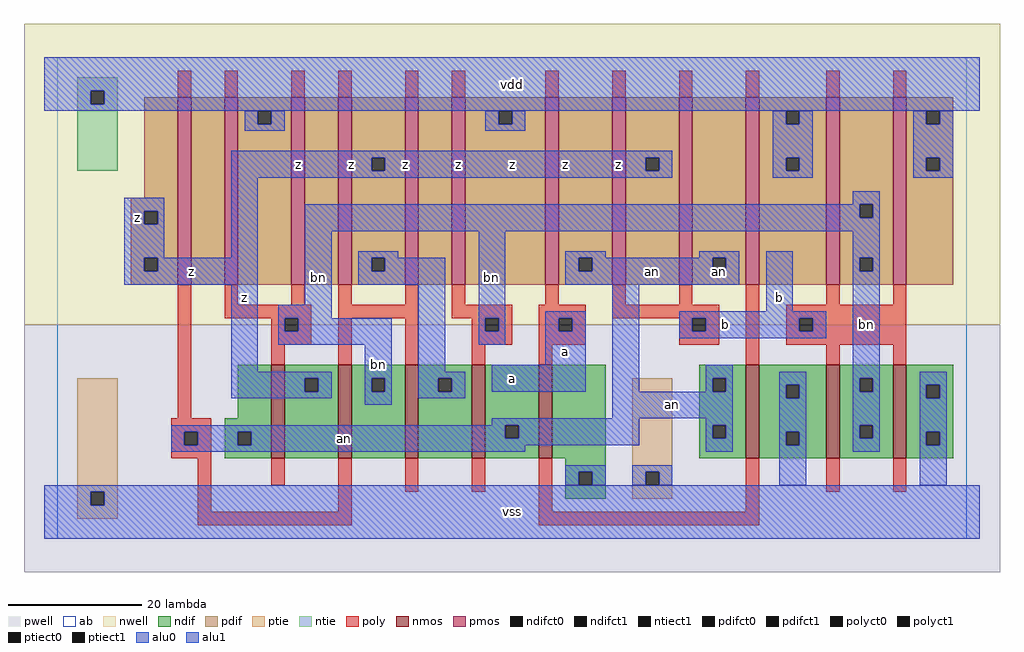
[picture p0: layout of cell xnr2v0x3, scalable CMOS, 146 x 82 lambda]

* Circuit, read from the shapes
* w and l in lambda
.subckt xnr2v0x3 a an b bn vdd vss z
M1 z bn an vss nfet w=14 l=2 m=2
M2 bn an z vss nfet w=14 l=2 m=2
M3 vss a an vss nfet w=14 l=2 m=2
M4 bn b vss vss nfet w=14 l=2 m=2
M5 n1 an z vdd pfet w=28 l=2
M6 vdd bn n1 vdd pfet w=28 l=2
M7 n2 bn vdd vdd pfet w=28 l=2
M8 z an n2 vdd pfet w=28 l=2
M9 n3 an z vdd pfet w=28 l=2
M10 vdd bn n3 vdd pfet w=28 l=2
M11 an a vdd vdd pfet w=28 l=2 m=2
M12 z b an vdd pfet w=28 l=2 m=2
M13 bn b vdd vdd pfet w=28 l=2 m=2
.ends

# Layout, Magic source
magic
tech scmos
<< ab >>
rect 0 0 136 72
<< nwell >>
rect -5 32 141 77
<< pwell >>
rect -5 -5 141 32
<< poly >>
rect 18 66 20 70
rect 25 66 27 70
rect 35 66 37 70
rect 42 66 44 70
rect 52 66 54 70
rect 59 66 61 70
rect 73 66 75 70
rect 83 66 85 70
rect 93 66 95 70
rect 103 66 105 70
rect 115 66 117 70
rect 125 66 127 70
rect 18 18 20 38
rect 25 35 27 38
rect 35 35 37 38
rect 42 35 44 38
rect 52 35 54 38
rect 25 33 38 35
rect 32 31 34 33
rect 36 31 38 33
rect 32 29 38 31
rect 42 33 54 35
rect 59 35 61 38
rect 73 35 75 38
rect 83 35 85 38
rect 93 35 95 38
rect 59 33 68 35
rect 32 26 34 29
rect 42 26 44 33
rect 52 26 54 33
rect 62 31 64 33
rect 66 31 68 33
rect 62 29 68 31
rect 72 33 79 35
rect 83 33 99 35
rect 72 31 75 33
rect 77 31 79 33
rect 72 29 79 31
rect 93 31 95 33
rect 97 31 99 33
rect 93 29 99 31
rect 62 26 64 29
rect 72 26 74 29
rect 103 26 105 38
rect 115 35 117 38
rect 125 35 127 38
rect 109 33 127 35
rect 109 31 111 33
rect 113 31 127 33
rect 109 29 127 31
rect 115 26 117 29
rect 125 26 127 29
rect 17 16 23 18
rect 17 14 19 16
rect 21 14 23 16
rect 17 12 23 14
rect 21 4 23 12
rect 32 8 34 12
rect 42 4 44 12
rect 52 7 54 12
rect 62 7 64 12
rect 21 2 44 4
rect 72 4 74 12
rect 103 4 105 12
rect 115 7 117 12
rect 125 7 127 12
rect 72 2 105 4
<< ndif >>
rect 27 18 32 26
rect 25 16 32 18
rect 25 14 27 16
rect 29 14 32 16
rect 25 12 32 14
rect 34 24 42 26
rect 34 22 37 24
rect 39 22 42 24
rect 34 12 42 22
rect 44 24 52 26
rect 44 22 47 24
rect 49 22 52 24
rect 44 12 52 22
rect 54 24 62 26
rect 54 22 57 24
rect 59 22 62 24
rect 54 12 62 22
rect 64 17 72 26
rect 64 15 67 17
rect 69 15 72 17
rect 64 12 72 15
rect 74 12 82 26
rect 96 24 103 26
rect 76 10 82 12
rect 76 8 78 10
rect 80 8 82 10
rect 76 6 82 8
rect 96 22 98 24
rect 100 22 103 24
rect 96 17 103 22
rect 96 15 98 17
rect 100 15 103 17
rect 96 12 103 15
rect 105 23 115 26
rect 105 21 109 23
rect 111 21 115 23
rect 105 16 115 21
rect 105 14 109 16
rect 111 14 115 16
rect 105 12 115 14
rect 117 24 125 26
rect 117 22 120 24
rect 122 22 125 24
rect 117 17 125 22
rect 117 15 120 17
rect 122 15 125 17
rect 117 12 125 15
rect 127 23 134 26
rect 127 21 130 23
rect 132 21 134 23
rect 127 16 134 21
rect 127 14 130 16
rect 132 14 134 16
rect 127 12 134 14
<< pdif >>
rect 13 51 18 66
rect 11 49 18 51
rect 11 47 13 49
rect 15 47 18 49
rect 11 42 18 47
rect 11 40 13 42
rect 15 40 18 42
rect 11 38 18 40
rect 20 38 25 66
rect 27 64 35 66
rect 27 62 30 64
rect 32 62 35 64
rect 27 38 35 62
rect 37 38 42 66
rect 44 57 52 66
rect 44 55 47 57
rect 49 55 52 57
rect 44 42 52 55
rect 44 40 47 42
rect 49 40 52 42
rect 44 38 52 40
rect 54 38 59 66
rect 61 64 73 66
rect 61 62 66 64
rect 68 62 73 64
rect 61 38 73 62
rect 75 42 83 66
rect 75 40 78 42
rect 80 40 83 42
rect 75 38 83 40
rect 85 57 93 66
rect 85 55 88 57
rect 90 55 93 57
rect 85 38 93 55
rect 95 42 103 66
rect 95 40 98 42
rect 100 40 103 42
rect 95 38 103 40
rect 105 64 115 66
rect 105 62 109 64
rect 111 62 115 64
rect 105 57 115 62
rect 105 55 109 57
rect 111 55 115 57
rect 105 38 115 55
rect 117 50 125 66
rect 117 48 120 50
rect 122 48 125 50
rect 117 42 125 48
rect 117 40 120 42
rect 122 40 125 42
rect 117 38 125 40
rect 127 64 134 66
rect 127 62 130 64
rect 132 62 134 64
rect 127 57 134 62
rect 127 55 130 57
rect 132 55 134 57
rect 127 38 134 55
<< alu1 >>
rect -2 67 138 72
rect -2 65 5 67
rect 7 65 138 67
rect -2 64 138 65
rect 26 57 92 58
rect 26 55 47 57
rect 49 55 88 57
rect 90 55 92 57
rect 26 54 92 55
rect 10 49 16 51
rect 10 47 13 49
rect 15 47 16 49
rect 10 42 16 47
rect 26 42 30 54
rect 10 40 13 42
rect 15 40 30 42
rect 10 38 30 40
rect 26 25 30 38
rect 26 24 41 25
rect 26 22 37 24
rect 39 22 41 24
rect 26 21 41 22
rect 73 33 79 34
rect 73 31 75 33
rect 77 31 79 33
rect 73 26 79 31
rect 65 22 79 26
rect 106 34 110 43
rect 93 33 115 34
rect 93 31 95 33
rect 97 31 111 33
rect 113 31 115 33
rect 93 30 115 31
rect -2 7 138 8
rect -2 5 5 7
rect 7 5 138 7
rect -2 0 138 5
<< ptie >>
rect 3 7 9 24
rect 3 5 5 7
rect 7 5 9 7
rect 3 3 9 5
rect 86 10 92 24
rect 86 8 88 10
rect 90 8 92 10
rect 86 6 92 8
<< ntie >>
rect 3 67 9 69
rect 3 65 5 67
rect 7 65 9 67
rect 3 55 9 65
<< nmos >>
rect 32 12 34 26
rect 42 12 44 26
rect 52 12 54 26
rect 62 12 64 26
rect 72 12 74 26
rect 103 12 105 26
rect 115 12 117 26
rect 125 12 127 26
<< pmos >>
rect 18 38 20 66
rect 25 38 27 66
rect 35 38 37 66
rect 42 38 44 66
rect 52 38 54 66
rect 59 38 61 66
rect 73 38 75 66
rect 83 38 85 66
rect 93 38 95 66
rect 103 38 105 66
rect 115 38 117 66
rect 125 38 127 66
<< polyct0 >>
rect 34 31 36 33
rect 64 31 66 33
rect 19 14 21 16
<< polyct1 >>
rect 75 31 77 33
rect 95 31 97 33
rect 111 31 113 33
<< ndifct0 >>
rect 27 14 29 16
rect 47 22 49 24
rect 57 22 59 24
rect 67 15 69 17
rect 78 8 80 10
rect 98 22 100 24
rect 98 15 100 17
rect 109 21 111 23
rect 109 14 111 16
rect 120 22 122 24
rect 120 15 122 17
rect 130 21 132 23
rect 130 14 132 16
<< ndifct1 >>
rect 37 22 39 24
<< ntiect1 >>
rect 5 65 7 67
<< ptiect0 >>
rect 88 8 90 10
<< ptiect1 >>
rect 5 5 7 7
<< pdifct0 >>
rect 30 62 32 64
rect 47 40 49 42
rect 66 62 68 64
rect 78 40 80 42
rect 98 40 100 42
rect 109 62 111 64
rect 109 55 111 57
rect 120 48 122 50
rect 120 40 122 42
rect 130 62 132 64
rect 130 55 132 57
<< pdifct1 >>
rect 13 47 15 49
rect 13 40 15 42
rect 47 55 49 57
rect 88 55 90 57
<< alu0 >>
rect 28 62 30 64
rect 32 62 34 64
rect 28 61 34 62
rect 64 62 66 64
rect 68 62 70 64
rect 64 61 70 62
rect 107 62 109 64
rect 111 62 113 64
rect 107 57 113 62
rect 107 55 109 57
rect 111 55 113 57
rect 107 54 113 55
rect 128 62 130 64
rect 132 62 134 64
rect 128 57 134 62
rect 128 55 130 57
rect 132 55 134 57
rect 128 54 134 55
rect 119 50 123 52
rect 37 48 120 50
rect 122 48 123 50
rect 37 46 123 48
rect 37 35 41 46
rect 45 42 51 43
rect 45 40 47 42
rect 49 40 58 42
rect 45 38 58 40
rect 33 33 41 35
rect 33 31 34 33
rect 36 31 50 33
rect 33 29 50 31
rect 46 24 50 29
rect 46 22 47 24
rect 49 22 50 24
rect 46 20 50 22
rect 54 25 58 38
rect 63 33 67 46
rect 76 42 82 43
rect 96 42 102 43
rect 76 40 78 42
rect 80 40 98 42
rect 100 40 102 42
rect 76 38 102 40
rect 63 31 64 33
rect 66 31 67 33
rect 63 29 67 31
rect 54 24 61 25
rect 54 22 57 24
rect 59 22 61 24
rect 83 22 87 38
rect 119 42 123 46
rect 119 40 120 42
rect 122 40 123 42
rect 97 24 101 26
rect 97 22 98 24
rect 100 22 101 24
rect 54 21 61 22
rect 83 18 101 22
rect 65 17 87 18
rect 17 16 67 17
rect 17 14 19 16
rect 21 14 27 16
rect 29 15 67 16
rect 69 15 87 17
rect 29 14 87 15
rect 97 17 101 18
rect 97 15 98 17
rect 100 15 101 17
rect 17 13 70 14
rect 97 13 101 15
rect 108 23 112 25
rect 108 21 109 23
rect 111 21 112 23
rect 108 16 112 21
rect 108 14 109 16
rect 111 14 112 16
rect 76 10 82 11
rect 76 8 78 10
rect 80 8 82 10
rect 86 10 92 11
rect 86 8 88 10
rect 90 8 92 10
rect 108 8 112 14
rect 119 24 123 40
rect 119 22 120 24
rect 122 22 123 24
rect 119 17 123 22
rect 119 15 120 17
rect 122 15 123 17
rect 119 13 123 15
rect 129 23 133 25
rect 129 21 130 23
rect 132 21 133 23
rect 129 16 133 21
rect 129 14 130 16
rect 132 14 133 16
rect 129 8 133 14
<< labels >>
rlabel alu0 48 26 48 26 6 bn
rlabel alu0 65 39 65 39 6 bn
rlabel alu0 39 39 39 39 6 bn
rlabel alu0 43 15 43 15 6 an
rlabel alu0 92 20 92 20 6 an
rlabel alu0 99 40 99 40 6 an
rlabel alu0 89 40 89 40 6 an
rlabel alu0 121 32 121 32 6 bn
rlabel alu1 28 36 28 36 6 z
rlabel alu1 20 40 20 40 6 z
rlabel alu1 12 48 12 48 6 z
rlabel alu1 44 56 44 56 6 z
rlabel alu1 52 56 52 56 6 z
rlabel alu1 60 56 60 56 6 z
rlabel alu1 36 56 36 56 6 z
rlabel alu1 68 4 68 4 6 vss
rlabel alu1 68 24 68 24 6 a
rlabel alu1 100 32 100 32 6 b
rlabel alu1 76 28 76 28 6 a
rlabel alu1 76 56 76 56 6 z
rlabel alu1 84 56 84 56 6 z
rlabel alu1 68 56 68 56 6 z
rlabel alu1 68 68 68 68 6 vdd
rlabel alu1 108 36 108 36 6 b
<< end >>
